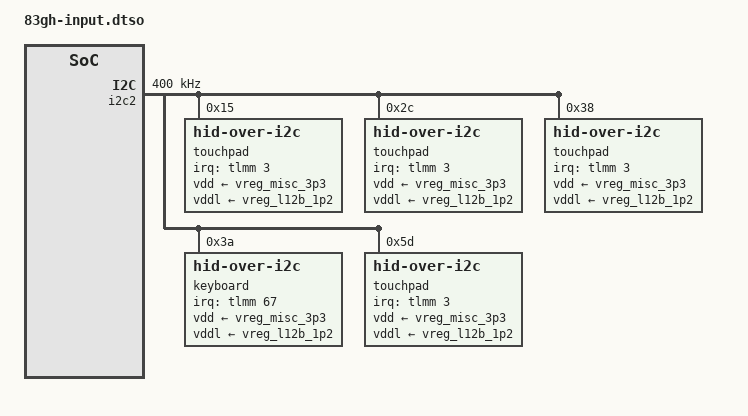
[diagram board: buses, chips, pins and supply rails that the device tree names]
// SPDX-License-Identifier: BSD-3-Clause
/*
 * UbuntoARM: teclado e touchpad do IdeaPad 5 2-in-1 (83GH) sobre o DTB do Slim 5x.
 * No 83GH estão no i2c2 (b88000), não no i2c0 como no Slim 5x. Mesmos dispositivos e
 * interrupções (GPIO 3 touchpad, GPIO 67 teclado), copiados de x1p42100-lenovo-ideapad-5-2in1.dts.
 * 8 = IRQ_TYPE_LEVEL_LOW.
 */
/dts-v1/;
/plugin/;

&i2c0 {
	status = "disabled";
};

&i2c2 {
	clock-frequency = <400000>;
	pinctrl-0 = <&qup_i2c2_data_clk>, <&tpad_default>, <&kybd_default>;
	pinctrl-names = "default";
	status = "okay";

	/* ELAN06FA */
	touchpad@15 {
		compatible = "hid-over-i2c";
		reg = <0x15>;
		hid-descr-addr = <0x1>;
		interrupts-extended = <&tlmm 3 8>;
		vdd-supply = <&vreg_misc_3p3>;
		vddl-supply = <&vreg_l12b_1p2>;
		wakeup-source;
	};

	/* CIRQ1080 or SYNA2BA6 */
	touchpad@2c {
		compatible = "hid-over-i2c";
		reg = <0x2c>;
		hid-descr-addr = <0x20>;
		interrupts-extended = <&tlmm 3 8>;
		vdd-supply = <&vreg_misc_3p3>;
		vddl-supply = <&vreg_l12b_1p2>;
		wakeup-source;
	};

	/* FTCS0038 */
	touchpad@38 {
		compatible = "hid-over-i2c";
		reg = <0x38>;
		hid-descr-addr = <0x1>;
		interrupts-extended = <&tlmm 3 8>;
		vdd-supply = <&vreg_misc_3p3>;
		vddl-supply = <&vreg_l12b_1p2>;
		wakeup-source;
	};

	keyboard@3a {
		compatible = "hid-over-i2c";
		reg = <0x3a>;
		hid-descr-addr = <0x1>;
		interrupts-extended = <&tlmm 67 8>;
		vdd-supply = <&vreg_misc_3p3>;
		vddl-supply = <&vreg_l12b_1p2>;
		wakeup-source;
	};

	/* GXTP5100 */
	touchpad@5d {
		compatible = "hid-over-i2c";
		reg = <0x5d>;
		hid-descr-addr = <0x1>;
		interrupts-extended = <&tlmm 3 8>;
		vdd-supply = <&vreg_misc_3p3>;
		vddl-supply = <&vreg_l12b_1p2>;
		wakeup-source;
	};
};
